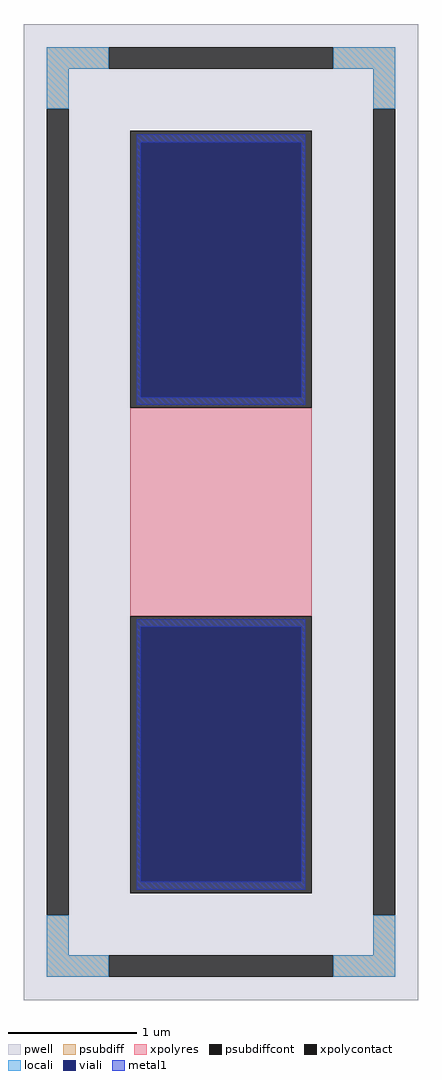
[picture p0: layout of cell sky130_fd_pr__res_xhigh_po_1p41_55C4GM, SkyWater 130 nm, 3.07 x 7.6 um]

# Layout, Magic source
magic
tech sky130A
magscale 1 2
<< pwell >>
rect -307 -760 307 760
<< psubdiff >>
rect -271 690 -175 724
rect 175 690 271 724
rect -271 628 -237 690
rect 237 628 271 690
rect -271 -690 -237 -628
rect 237 -690 271 -628
rect -271 -724 -175 -690
rect 175 -724 271 -690
<< psubdiffcont >>
rect -175 690 175 724
rect -271 -628 -237 628
rect 237 -628 271 628
rect -175 -724 175 -690
<< xpolycontact >>
rect -141 162 141 594
rect -141 -594 141 -162
<< xpolyres >>
rect -141 -162 141 162
<< locali >>
rect -271 690 -175 724
rect 175 690 271 724
rect -271 628 -237 690
rect 237 628 271 690
rect -271 -690 -237 -628
rect 237 -690 271 -628
rect -271 -724 -175 -690
rect 175 -724 271 -690
<< viali >>
rect -125 179 125 576
rect -125 -576 125 -179
<< metal1 >>
rect -131 576 131 588
rect -131 179 -125 576
rect 125 179 131 576
rect -131 167 131 179
rect -131 -179 131 -167
rect -131 -576 -125 -179
rect 125 -576 131 -179
rect -131 -588 131 -576
<< properties >>
string FIXED_BBOX -254 -707 254 707
string gencell sky130_fd_pr__res_xhigh_po_1p41
string library sky130
string parameters w 1.410 l 1.784 m 1 nx 1 wmin 1.410 lmin 0.50 rho 2000 val 2.797k dummy 0 dw 0.0 term 188.2 sterm 0.0 caplen 0 wmax 1.410 guard 1 glc 1 grc 1 gtc 1 gbc 1 compatible {sky130_fd_pr__res_xhigh_po_0p35  sky130_fd_pr__res_xhigh_po_0p69 sky130_fd_pr__res_xhigh_po_1p41  sky130_fd_pr__res_xhigh_po_2p85 sky130_fd_pr__res_xhigh_po_5p73} snake 0 full_metal 1 n_guard 0 hv_guard 0 vias 1 viagb 0 viagt 0 viagl 0 viagr 0
<< end >>
